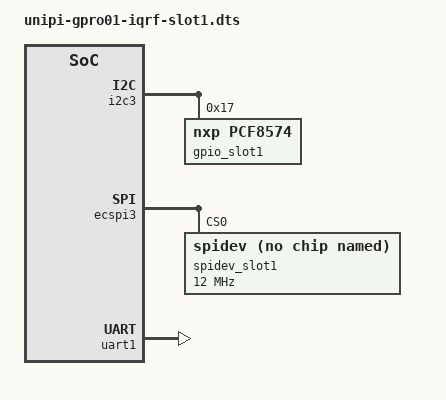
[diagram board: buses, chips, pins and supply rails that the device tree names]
// SPDX-License-Identifier: (GPL-2.0+ OR MIT)
/*
 * Device Tree fragment for Unipi Gate PRO IQRF board, v0.3
 *
 * Copyright 2021 Faster CZ, spol. s r.o.
 *
 * IQRF card is in slot 1.
 */

/dts-v1/;
/plugin/;

/ {
	fragment@0 {
		target = <&i2c3>;
		__overlay__ {
    		#address-cells = <1>;
	    	#size-cells = <0>;
	        gpio_slot1: pca9501@17 {
        		compatible = "nxp,pcf8574";
		        gpio-controller;
        		#gpio-cells = <2>;
		        reg = <0x17>;
        	    gpio-line-names = "SLOT1_IQRF_POWER",
		        	  "SLOT1_IQRF_PGM",
        			  "SLOT1_IQRF_BUS",
		        	  "","","","","";
	        };

            /*ee_slot1@57 {
                compatible = "24c02";
                reg = <0x57>;
                vcc-supply = <&vcc>;
            };*/
		};
	};

	fragment@1 {
		target = <&ecspi3>;
		__overlay__ {
	        status = "okay";
       		#address-cells = <1>;
	    	#size-cells = <0>;

			spidev_slot1: spi@0 {
                compatible = "nanopi,spidev";
                reg = <0>;
                status = "okay";
                spi-max-frequency = <12000000>;
            };
		};
	};

	fragment@2 {
		target = <&uart1>;
		__overlay__ {
        	pinctrl-names = "default";
        	pinctrl-0 = <&pinctrl_uart1_nc>;
        	status = "okay";
		};
	};
};

